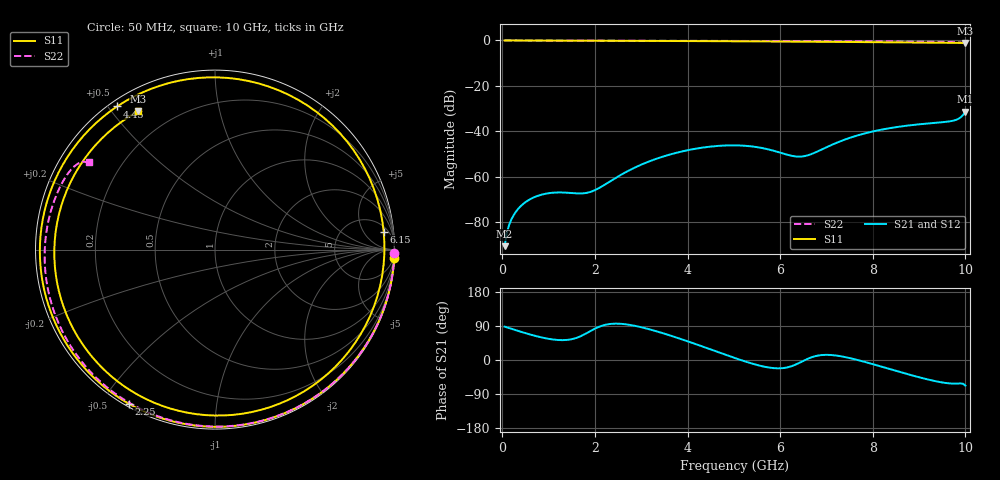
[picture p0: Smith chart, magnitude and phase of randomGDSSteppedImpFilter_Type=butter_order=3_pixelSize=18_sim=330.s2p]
! freq	dB(S11)	phase(S11)	dB(S12)	phase(S12)
!  dB(S21)	phase(S21)	dB(S22)	phase(S22)
!S-par simulation data
#  GHz  S  DB  R 50
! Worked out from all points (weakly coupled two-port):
!   200 points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, 50 MHz to 10 GHz, reference 50 ohm
!   highest |S21| = -31.29 dB at 10 GHz (marker M1); lowest = -90.6 dB at 50 MHz (marker M2)
!   lowest |S11| = -1.1 dB at 10 GHz (marker M3), VSWR 15.86, Z = 4.24 + j29.2 ohm
!   |S11| at or under -10 dB: nowhere
!   |S22| runs from -1.4 to 0.0 dB; largest |S21 - S12| = 0
!   S11 on the Smith chart (normalised r, x): 50 MHz: 0, -41; 2.25 GHz: 0.01, -0.59; 4.45 GHz: 0.02, +0.53; 6.15 GHz: 8, +15; 10 GHz: 0.08, +0.58
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0.05  -0.00 -2.8  -90.58 88.1  -90.58 88.1  -0.00 -1.2
0.15  -0.01 -8.4  -81.09 84.1  -81.09 84.1  -0.00 -3.6
0.4  -0.03 -22.3  -72.92 74.5  -72.92 74.5  -0.01 -9.6
0.75  -0.05 -41.5  -68.54 62.4  -68.54 62.4  -0.02 -17.9
1.25  -0.08 -68.3  -66.93 52.5  -66.93 52.5  -0.04 -29.6
1.75  -0.11 -94.2  -67.32 66.2  -67.32 66.2  -0.05 -41.2
2.25  -0.14 -119.3  -63.04 93.5  -63.04 93.5  -0.07 -52.5
2.85  -0.17 -149.1  -56.09 90.5  -56.09 90.5  -0.09 -65.7
3.4  -0.21 -177.0  -51.60 73.2  -51.60 73.2  -0.10 -77.5
3.95  -0.25 153.5  -48.56 51.5  -48.56 51.5  -0.12 -89.0
4.45  -0.30 124.4  -46.85 30.1  -46.85 30.1  -0.14 -99.1
5.05  -0.36 85.6  -46.20 4.1  -46.20 4.1  -0.17 -111.1
5.55  -0.42 50.3  -47.14 -14.7  -47.14 -14.7  -0.20 -120.9
6.15  -0.49 6.0  -50.29 -19.6  -50.29 -19.6  -0.23 -132.5
6.7  -0.56 -33.9  -49.83 8.0  -49.83 8.0  -0.28 -143.1
7.1  -0.61 -61.3  -46.10 13.2  -46.10 13.2  -0.31 -150.9
7.5  -0.67 -87.1  -42.91 5.2  -42.91 5.2  -0.34 -158.7
8.35  -0.83 -138.5  -38.67 -23.3  -38.67 -23.3  -0.44 -175.9
8.8  -0.92 -165.2  -37.37 -39.0  -37.37 -39.0  -0.49 174.6
9.2  -0.99 170.6  -36.55 -51.7  -36.55 -51.7  -0.55 165.8
9.8  -1.08 132.4  -34.95 -62.4  -34.95 -62.4  -0.75 151.0
10  -1.10 119.1  -31.29 -67.6  -31.29 -67.6  -1.36 145.4
